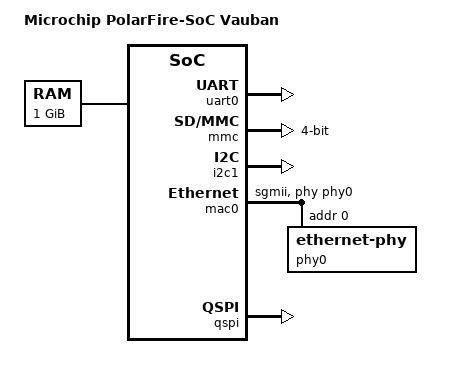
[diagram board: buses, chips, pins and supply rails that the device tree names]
// SPDX-License-Identifier: (GPL-2.0+ OR MIT)
/*
 * Copyright (C) 2021-2022 Microchip Technology Inc.
 */

/dts-v1/;

#include "mpfs.dtsi"

/* Clock frequency (in Hz) of the rtcclk */
#define MTIMER_FREQ		1000000

/ {
	model = "Microchip PolarFire-SoC Vauban";
	compatible = "microchip,mpfs-vauban", "microchip,mpfs";

	aliases {
		serial0 = &uart0;
		ethernet0 = &mac0;
		spi0 = &qspi;
	};

	chosen {
		stdout-path = "serial0";
	};

	cpus {
		timebase-frequency = <MTIMER_FREQ>;
	};

	ddrc_cache_lo: memory@80000000 {
		device_type = "memory";
		reg = <0x0 0x80000000 0x0 0x40000000>;
		status = "okay";
	};

	reserved-memory {
		#address-cells = <2>;
		#size-cells = <2>;
		ranges;

		hss_payload: region@BFC00000 {
			reg = <0x0 0xBFC00000 0x0 0x400000>;
			no-map;
		};
	};
};

&refclk {
	clock-frequency = <125000000>;
};

&uart0 {
	status = "okay";
};

&mmc {
	status = "okay";

	bus-width = <4>;
	disable-wp;
	cap-mmc-highspeed;
	cap-sd-highspeed;
	card-detect-delay = <200>;
	mmc-ddr-1_8v;
	mmc-hs200-1_8v;
	sd-uhs-sdr12;
	sd-uhs-sdr25;
	sd-uhs-sdr50;
	sd-uhs-sdr104;
};

&i2c1 {
	status = "okay";
};

&mac0 {
	status = "okay";
	phy-mode = "sgmii";
	phy-handle = <&phy0>;

	phy0: ethernet-phy@0 {
		reg = <0>;
	};
};

&qspi {
	status = "okay";
};

